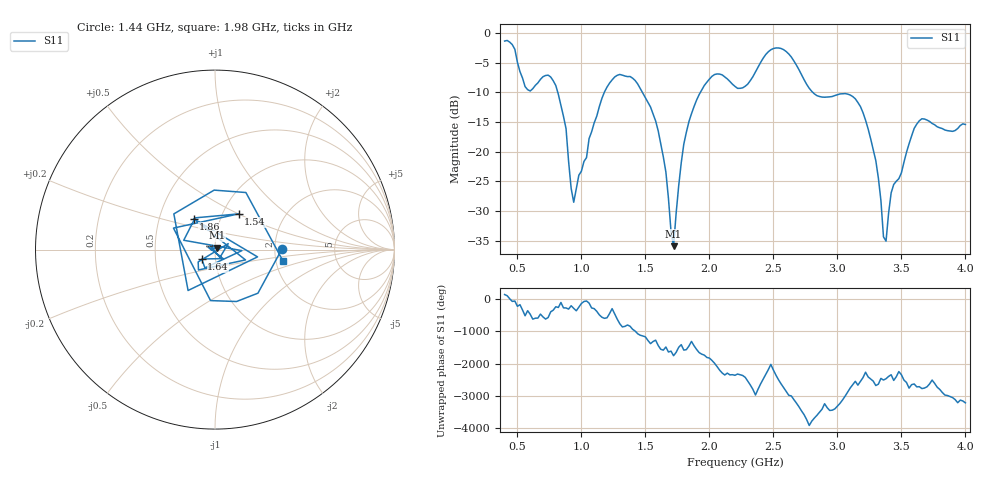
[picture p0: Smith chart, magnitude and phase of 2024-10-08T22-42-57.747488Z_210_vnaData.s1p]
! Created with skrf (http://scikit-rf.org).
# Hz S RI R 50.0
!freq ReS11 ImS11
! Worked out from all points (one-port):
!   181 points, 400 MHz to 4 GHz, reference 50 ohm
!   lowest |S11| = -35.9 dB at 1.72 GHz (marker M1), VSWR 1.03, Z = 51.2 + j1.13 ohm
!   |S11| at or under -10 dB: 815.6 MHz to 1.179 GHz (363.2 MHz wide, 36.4 % of centre); 1.478 GHz to 1.929 GHz (451.7 MHz wide, 26.5 % of centre); 2.808 GHz to end of sweep
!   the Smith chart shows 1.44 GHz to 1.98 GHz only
!   S11 on the Smith chart (normalised r, x): 1.44 GHz: 2.19, +0.01; 1.54 GHz: 1.19, +0.50; 1.64 GHz: 0.86, -0.09; 1.86 GHz: 0.75, +0.27; 1.98 GHz: 2.19, -0.34
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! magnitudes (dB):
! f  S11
! 400 MHz  -1.3
! 480 MHz  -2.7
! 580 MHz  -9.5
! 760 MHz  -7.4
! 860 MHz  -14.0
! 940 MHz  -28.5
! 1.16 GHz  -11.0
! 1.3 GHz  -7.0
! 1.44 GHz  -8.6
! 1.54 GHz  -12.5
! 1.64 GHz  -20.9
! 1.72 GHz  -35.9
! 1.76 GHz  -25.8
! 1.8 GHz  -18.7
! 1.86 GHz  -13.6
! 1.98 GHz  -8.3
! 2.2 GHz  -9.0
! 2.5 GHz  -2.6
! 2.66 GHz  -4.7
! 2.84 GHz  -10.5
! 3.1 GHz  -10.4
! 3.26 GHz  -17.8
! 3.36 GHz  -34.3
! 3.38 GHz  -35.0
! 3.42 GHz  -26.9
! 3.56 GHz  -18.6
! 3.66 GHz  -14.4
! 4 GHz  -15.4
